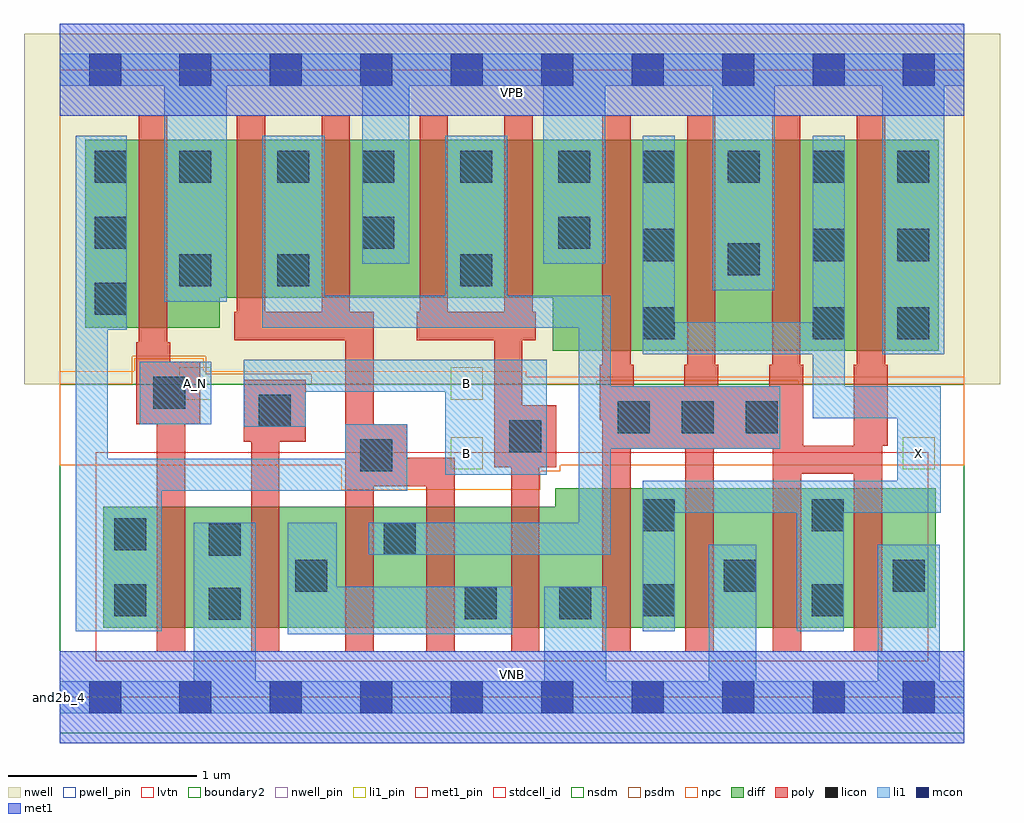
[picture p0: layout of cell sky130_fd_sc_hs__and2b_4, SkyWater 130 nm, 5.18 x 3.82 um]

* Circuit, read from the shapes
.subckt sky130_fd_sc_hs__and2b_4 A_N B VGND VNB VPB VPWR X
XM1 VGND A_N n1 VNB sky130_fd_pr__nfet_01v8_lvt w=0.64 l=0.15
XM2 n2 B VGND VNB sky130_fd_pr__nfet_01v8_lvt w=0.64 l=0.15 m=2
XM3 n3 n1 n2 VNB sky130_fd_pr__nfet_01v8_lvt w=0.64 l=0.15 m=2
XM4 X n3 VGND VNB sky130_fd_pr__nfet_01v8_lvt w=0.74 l=0.15 m=4
XM5 VPWR A_N n1 VPB sky130_fd_pr__pfet_01v8 w=1 l=0.15
XM6 n3 n1 VPWR VPB sky130_fd_pr__pfet_01v8 w=0.84 l=0.15 m=2
XM7 n3 B VPWR VPB sky130_fd_pr__pfet_01v8 w=0.84 l=0.15 m=2
XM8 X n3 VPWR VPB sky130_fd_pr__pfet_01v8 w=1.12 l=0.15 m=4
.ends

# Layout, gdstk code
import gdstk
lib = gdstk.Library(unit=1e-6, precision=1e-09)
def R(c, l, rs):  # rectangles x0, y0, x1, y1
    for r in rs: c.add(gdstk.rectangle(r[:2], r[2:], *l))
def A(c, l, x, y, w, h, nx, ny, dx, dy):  # array of equal rectangles
    R(c, l, [(x+i*dx, y+j*dy, x+i*dx+w, y+j*dy+h) for i in range(nx) for j in range(ny)])
def P(c, l, *ps):  # polygons
    for p in ps: c.add(gdstk.Polygon(p, *l))
nwell_pin = (64, 16)
nwell = (64, 20)
diff = (65, 20)
poly = (66, 20)
licon = (66, 44)
li1_pin = (67, 16)
li1 = (67, 20)
mcon = (67, 44)
met1_pin = (68, 16)
met1 = (68, 20)
stdcell_id = (81, 4)
nsdm = (93, 44)
psdm = (94, 20)
npc = (95, 20)
pwell_pin = (122, 16)
lvtn = (125, 44)
boundary2 = (236, 0)

sky130_fd_sc_hs__and2b_4 = lib.new_cell('sky130_fd_sc_hs__and2b_4')
R(sky130_fd_sc_hs__and2b_4, nwell_pin, [(0,3.085,4.8,3.33)])
R(sky130_fd_sc_hs__and2b_4, nwell, [(-0.19,1.66,4.99,3.52)])
P(sky130_fd_sc_hs__and2b_4, diff, [(4.65,1.11),(2.63,1.11),(2.63,1.01),(0.23,1.01),(0.23,0.37),(4.65,0.37)],
  [(4.665,2.96),(0.135,2.96),(0.135,1.96),(0.85,1.96),(0.85,2.12),(2.615,2.12),(2.615,1.84),(4.665,1.84)])
P(sky130_fd_sc_hs__and2b_4, poly, [(0.745,1.78),(0.585,1.78),(0.585,1.885),(0.57,1.885),(0.57,3.09),(0.42,3.09),(0.42,1.885),(0.405,1.885),(0.405,1.45),(0.515,1.45),(0.515,0.24),(0.665,0.24),(0.665,1.45),(0.745,1.45)],
  [(1.305,1.685),(0.975,1.685),(0.975,1.355),(1.015,1.355),(1.015,0.24),(1.165,0.24),(1.165,1.355),(1.305,1.355)],
  [(2.095,1.27),(1.845,1.27),(1.845,1.45),(1.665,1.45),(1.665,2.045),(1.54,2.045),(1.54,3.09),(1.39,3.09),(1.39,2.045),(1.09,2.045),(1.09,3.09),(0.94,3.09),(0.94,2.045),(0.925,2.045),(0.925,1.895),(1.515,1.895),(1.515,0.24),(1.665,0.24),(1.665,1.12),(1.945,1.12),(1.945,0.24),(2.095,0.24)],
  [(2.635,1.55),(2.455,1.55),(2.455,1.895),(2.525,1.895),(2.525,2.045),(2.51,2.045),(2.51,3.09),(2.36,3.09),(2.36,2.045),(2.06,2.045),(2.06,3.09),(1.91,3.09),(1.91,2.045),(1.895,2.045),(1.895,1.895),(2.305,1.895),(2.305,1.22),(2.395,1.22),(2.395,0.24),(2.545,0.24),(2.545,1.22),(2.635,1.22)],
  [(4.395,1.765),(4.38,1.765),(4.38,3.09),(4.23,3.09),(4.23,1.765),(4.215,1.765),(4.215,1.335),(3.945,1.335),(3.945,1.765),(3.93,1.765),(3.93,3.09),(3.78,3.09),(3.78,1.765),(3.765,1.765),(3.765,1.65),(3.495,1.65),(3.495,1.765),(3.48,1.765),(3.48,3.09),(3.33,3.09),(3.33,1.765),(3.315,1.765),(3.315,1.65),(3.045,1.65),(3.045,1.765),(3.03,1.765),(3.03,3.09),(2.88,3.09),(2.88,1.765),(2.865,1.765),(2.865,1.47),(2.88,1.47),(2.88,0.24),(3.03,0.24),(3.03,1.32),(3.32,1.32),(3.32,0.24),(3.47,0.24),(3.47,1.32),(3.785,1.32),(3.785,0.24),(3.935,0.24),(3.935,1.185),(4.215,1.185),(4.215,0.24),(4.365,0.24),(4.365,1.335),(4.395,1.335)])
A(sky130_fd_sc_hs__and2b_4, licon, 2.96, 1.4, 0.17, 0.17, 3, 1, 0.34, 0)
A(sky130_fd_sc_hs__and2b_4, licon, 0.185, 2.03, 0.17, 0.17, 1, 3, 0, 0.35)
A(sky130_fd_sc_hs__and2b_4, licon, 1.605, 2.73, 0.17, 0.17, 3, 1, 0.52, 0)
A(sky130_fd_sc_hs__and2b_4, licon, 3.095, 2.73, 0.17, 0.17, 4, 1, 0.45, 0)
R(sky130_fd_sc_hs__and2b_4, licon, [(0.79,0.41,0.96,0.58), (2.15,0.415,2.32,0.585), (2.65,0.415,2.82,0.585), (0.29,0.43,0.46,0.6), (3.095,0.43,3.265,0.6), (3.99,0.43,4.16,0.6), (1.25,0.56,1.42,0.73), (3.525,0.56,3.695,0.73), (4.42,0.56,4.59,0.73), (0.79,0.75,0.96,0.92), (1.72,0.755,1.89,0.925), (0.29,0.78,0.46,0.95), (3.095,0.88,3.265,1.05), (3.99,0.88,4.16,1.05), (1.595,1.2,1.765,1.37), (2.385,1.3,2.555,1.47), (1.055,1.435,1.225,1.605), (0.495,1.53,0.665,1.7), (3.095,1.9,3.265,2.07), (3.995,1.9,4.165,2.07), (4.445,1.9,4.615,2.07), (0.635,2.18,0.805,2.35), (1.155,2.18,1.325,2.35), (2.125,2.18,2.295,2.35), (3.545,2.24,3.715,2.41), (3.095,2.315,3.265,2.485), (3.995,2.315,4.165,2.485), (4.445,2.315,4.615,2.485), (1.605,2.38,1.775,2.55), (2.645,2.38,2.815,2.55), (0.635,2.73,0.805,2.9), (1.155,2.73,1.325,2.9)])
R(sky130_fd_sc_hs__and2b_4, li1_pin, [(2.075,1.21,2.245,1.38), (4.475,1.21,4.645,1.38), (0.635,1.58,0.805,1.75), (2.075,1.58,2.245,1.75)])
R(sky130_fd_sc_hs__and2b_4, li1, [(0.425,1.45,0.805,1.78)])
P(sky130_fd_sc_hs__and2b_4, li1, [(4.365,1.82),(4.365,3.245),(3.795,3.245),(3.795,2.16),(3.465,2.16),(3.465,3.245),(2.895,3.245),(2.895,2.3),(2.565,2.3),(2.565,3.245),(1.855,3.245),(1.855,2.3),(1.605,2.3),(1.605,3.245),(0.885,3.245),(0.885,2.1),(0.555,2.1),(0.555,3.245),(0,3.245),(0,3.415),(4.8,3.415),(4.8,3.245),(4.695,3.245),(4.695,1.82)],
  [(4.34,0.085),(4.34,0.81),(4.67,0.81),(4.67,0.085),(4.8,0.085),(4.8,-0.085),(0,-0.085),(0,0.085),(0.71,0.085),(0.71,0.925),(1.04,0.925),(1.04,0.085),(2.57,0.085),(2.57,0.585),(2.9,0.585),(2.9,0.085),(3.445,0.085),(3.445,0.81),(3.695,0.81),(3.695,0.085)],
  [(2.755,1.96),(1.075,1.96),(1.075,2.98),(1.405,2.98),(1.405,2.13),(2.045,2.13),(2.045,2.98),(2.375,2.98),(2.375,2.13),(2.925,2.13),(2.925,1.65),(3.825,1.65),(3.825,1.32),(2.925,1.32),(2.925,0.755),(1.64,0.755),(1.64,0.925),(2.755,0.925)],
  [(2.585,1.79),(2.585,1.18),(2.045,1.18),(2.045,1.62),(1.305,1.62),(1.305,1.435),(0.975,1.435),(0.975,1.79)],
  [(0.085,2.98),(0.355,2.98),(0.355,1.95),(0.255,1.95),(0.255,1.265),(1.515,1.265),(1.515,1.45),(1.845,1.45),(1.845,1.095),(0.54,1.095),(0.54,0.35),(0.085,0.35)],
  [(3.095,1.82),(3.095,2.98),(3.265,2.98),(3.265,1.99),(3.995,1.99),(3.995,2.98),(4.165,2.98),(4.165,1.65),(4.675,1.65),(4.675,0.98),(4.16,0.98),(4.16,0.35),(3.91,0.35),(3.91,0.98),(3.265,0.98),(3.265,0.35),(3.095,0.35),(3.095,1.15),(4.445,1.15),(4.445,1.48),(3.995,1.48),(3.995,1.82)],
  [(1.21,0.335),(1.21,0.925),(1.47,0.925),(1.47,0.585),(2.4,0.585),(2.4,0.335)])
A(sky130_fd_sc_hs__and2b_4, mcon, 0.155, -0.085, 0.17, 0.17, 10, 2, 0.48, 3.33)
R(sky130_fd_sc_hs__and2b_4, met1_pin, [(0,0,4.8,0.245), (0,3.085,4.8,3.33)])
R(sky130_fd_sc_hs__and2b_4, met1, [(0,-0.245,4.8,0.245), (0,3.085,4.8,3.575)])
R(sky130_fd_sc_hs__and2b_4, stdcell_id, [(0,0,4.8,3.33)])
R(sky130_fd_sc_hs__and2b_4, nsdm, [(0,-0.19,4.8,1.66)])
P(sky130_fd_sc_hs__and2b_4, psdm, [(4.8,3.52),(0,3.52),(0,1.66),(0.385,1.66),(0.385,1.81),(0.775,1.81),(0.775,1.715),(1.335,1.715),(1.335,1.66),(2.85,1.66),(2.85,1.68),(3.92,1.68),(3.92,1.66),(4.8,1.66)])
P(sky130_fd_sc_hs__and2b_4, npc, [(4.8,1.7),(2.475,1.7),(2.475,1.73),(0.765,1.73),(0.765,1.8),(0.395,1.8),(0.395,1.73),(0,1.73),(0,1.23),(1.495,1.23),(1.495,1.1),(2.55,1.1),(2.55,1.2),(2.655,1.2),(2.655,1.23),(4.8,1.23)])
R(sky130_fd_sc_hs__and2b_4, pwell_pin, [(0,0,4.8,0.245)])
R(sky130_fd_sc_hs__and2b_4, lvtn, [(0.19,0.19,4.61,1.3)])
R(sky130_fd_sc_hs__and2b_4, boundary2, [(0,0,4.8,3.33)])
sky130_fd_sc_hs__and2b_4.add(gdstk.Label('and2b_4', (0,0), layer=83, texttype=44))
sky130_fd_sc_hs__and2b_4.add(gdstk.Label('VNB', (2.4,0.123), layer=64, texttype=59))
sky130_fd_sc_hs__and2b_4.add(gdstk.Label('VPB', (2.4,3.208), layer=64, texttype=5))
sky130_fd_sc_hs__and2b_4.add(gdstk.Label('VPWR', (2.4,3.208), layer=68, texttype=5))
sky130_fd_sc_hs__and2b_4.add(gdstk.Label('VGND', (2.4,0.123), layer=68, texttype=5))
sky130_fd_sc_hs__and2b_4.add(gdstk.Label('A_N', (0.72,1.665), layer=67, texttype=5))
sky130_fd_sc_hs__and2b_4.add(gdstk.Label('B', (2.16,1.295), layer=67, texttype=5))
sky130_fd_sc_hs__and2b_4.add(gdstk.Label('B', (2.16,1.665), layer=67, texttype=5))
sky130_fd_sc_hs__and2b_4.add(gdstk.Label('X', (4.56,1.295), layer=67, texttype=5))

lib.write_gds('sky130_fd_sc_hs__and2b_4.gds')
